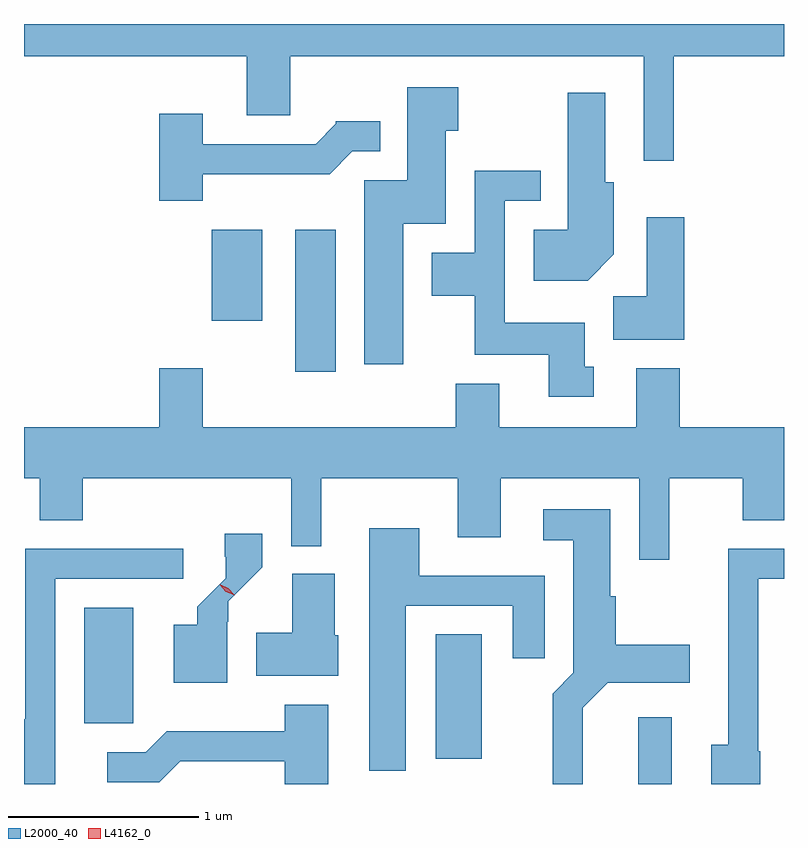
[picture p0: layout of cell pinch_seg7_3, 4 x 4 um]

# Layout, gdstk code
import gdstk
lib = gdstk.Library(unit=1e-6, precision=1e-09)
def R(c, l, rs):  # rectangles x0, y0, x1, y1
    for r in rs: c.add(gdstk.rectangle(r[:2], r[2:], *l))
def P(c, l, *ps):  # polygons
    for p in ps: c.add(gdstk.Polygon(p, *l))
L2000_40 = (2000, 40)
L4162_0 = (4162, 0)

pinch_seg7_3 = lib.new_cell('pinch_seg7_3')
R(pinch_seg7_3, L2000_40, [(1783.681,1781.527,1783.859,1781.879), (1782.616,1781.661,1782.859,1782.314), (1780.766,1781.846,1781.024,1782.454), (1781.876,1783.696,1782.089,1784.444), (1781.436,1783.966,1781.704,1784.444)])
P(pinch_seg7_3, L2000_40, [(1783.869,1785.356),(1784.449,1785.356),(1784.449,1785.527),(1780.449,1785.527),(1780.449,1785.356),(1781.621,1785.356),(1781.621,1785.046),(1781.849,1785.046),(1781.849,1785.356),(1783.711,1785.356),(1783.711,1784.808),(1783.869,1784.808)],
  [(1782.444,1784.476),(1782.669,1784.476),(1782.669,1784.966),(1782.734,1784.966),(1782.734,1785.194),(1782.466,1785.194),(1782.466,1784.704),(1782.241,1784.704),(1782.241,1783.736),(1782.444,1783.736)],
  [(1783.554,1784.314),(1783.554,1784.694),(1783.509,1784.694),(1783.509,1785.164),(1783.311,1785.164),(1783.311,1784.444),(1783.131,1784.444),(1783.131,1784.176),(1783.417,1784.176)],
  [(1781.389,1784.736),(1782.057,1784.736),(1782.177,1784.856),(1782.323,1784.856),(1782.323,1785.014),(1782.09,1785.014),(1782.09,1785.001),(1781.984,1784.894),(1781.389,1784.894),(1781.389,1785.054),(1781.161,1785.054),(1781.161,1784.596),(1781.389,1784.596)],
  [(1783.448,1783.724),(1783.399,1783.724),(1783.399,1783.954),(1782.979,1783.954),(1782.979,1784.596),(1783.168,1784.596),(1783.168,1784.754),(1782.821,1784.754),(1782.821,1784.324),(1782.596,1784.324),(1782.596,1784.096),(1782.821,1784.096),(1782.821,1783.786),(1783.211,1783.786),(1783.211,1783.566),(1783.448,1783.566)],
  [(1783.924,1784.509),(1783.726,1784.509),(1783.726,1784.094),(1783.551,1784.094),(1783.551,1783.866),(1783.924,1783.866)],
  [(1783.844,1783.136),(1784.231,1783.136),(1784.231,1782.916),(1784.449,1782.916),(1784.449,1783.404),(1783.899,1783.404),(1783.899,1783.714),(1783.671,1783.714),(1783.671,1783.404),(1782.949,1783.404),(1782.949,1783.634),(1782.721,1783.634),(1782.721,1783.404),(1781.389,1783.404),(1781.389,1783.714),(1781.161,1783.714),(1781.161,1783.404),(1780.449,1783.404),(1780.449,1783.136),(1780.531,1783.136),(1780.531,1782.916),(1780.759,1782.916),(1780.759,1783.136),(1781.856,1783.136),(1781.856,1782.778),(1782.014,1782.778),(1782.014,1783.136),(1782.731,1783.136),(1782.731,1782.826),(1782.959,1782.826),(1782.959,1783.136),(1783.686,1783.136),(1783.686,1782.708),(1783.844,1782.708)],
  [(1783.389,1781.929),(1783.522,1782.061),(1783.954,1782.061),(1783.954,1782.259),(1783.564,1782.259),(1783.564,1782.514),(1783.534,1782.514),(1783.534,1782.974),(1783.183,1782.974),(1783.183,1782.811),(1783.341,1782.811),(1783.341,1782.112),(1783.231,1782.002),(1783.231,1781.527),(1783.389,1781.527)],
  [(1782.459,1782.466),(1783.021,1782.466),(1783.021,1782.188),(1783.189,1782.188),(1783.189,1782.624),(1782.529,1782.624),(1782.529,1782.874),(1782.266,1782.874),(1782.266,1781.596),(1782.459,1781.596)],
  [(1781.519,1782.382),(1781.525,1782.382),(1781.525,1782.488),(1781.704,1782.667),(1781.704,1782.844),(1781.506,1782.844),(1781.506,1782.723),(1781.51,1782.723),(1781.51,1782.609),(1781.361,1782.46),(1781.361,1782.364),(1781.236,1782.364),(1781.236,1782.061),(1781.519,1782.061)],
  [(1784.324,1781.7),(1784.314,1781.7),(1784.314,1782.606),(1784.449,1782.606),(1784.449,1782.764),(1784.156,1782.764),(1784.156,1781.734),(1784.066,1781.734),(1784.066,1781.527),(1784.324,1781.527)],
  [(1780.614,1782.606),(1781.288,1782.606),(1781.288,1782.764),(1780.456,1782.764),(1780.456,1781.869),(1780.449,1781.869),(1780.449,1781.527),(1780.614,1781.527)],
  [(1782.104,1782.309),(1782.084,1782.309),(1782.084,1782.634),(1781.861,1782.634),(1781.861,1782.324),(1781.671,1782.324),(1781.671,1782.096),(1782.104,1782.096)],
  [(1782.049,1781.944),(1781.821,1781.944),(1781.821,1781.804),(1781.199,1781.804),(1781.089,1781.694),(1780.888,1781.694),(1780.888,1781.536),(1781.162,1781.536),(1781.272,1781.646),(1781.821,1781.646),(1781.821,1781.527),(1782.049,1781.527)])
P(pinch_seg7_3, L4162_0, [(1781.556,1782.52),(1781.512,1782.541),(1781.479,1782.578),(1781.479,1782.579),(1781.48,1782.579),(1781.524,1782.557),(1781.557,1782.52),(1781.557,1782.52)],
  [(1781.552,1782.523),(1781.511,1782.54),(1781.482,1782.573),(1781.482,1782.574),(1781.483,1782.574),(1781.523,1782.556),(1781.552,1782.524),(1781.552,1782.523)])

lib.write_gds('pinch_seg7_3.gds')
